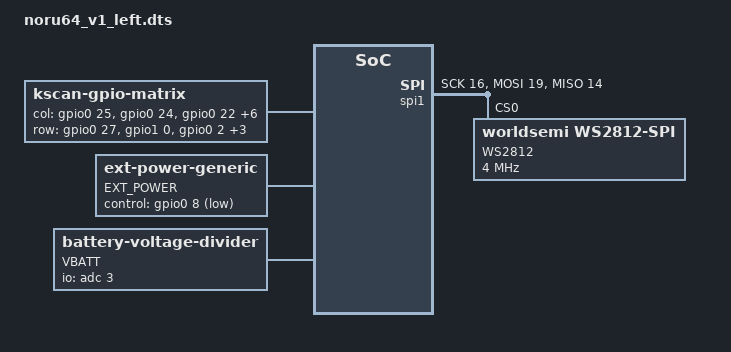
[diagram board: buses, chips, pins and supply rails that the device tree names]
/*
 * Copyright (c) 2020 Eric Lau
 *
 * SPDX-License-Identifier: MIT
 */

#include "noru64_v1.dts"

    / {
        chosen {
            zmk,underglow = &led_strip;
            zmk,battery = &vbatt;
        };
    
        kscan0: kscan_0 {
            compatible = "zmk,kscan-gpio-matrix";
            label = "KSCAN";
            diode-direction = "col2row";
    
            col-gpios
                = <&gpio0 25 GPIO_ACTIVE_HIGH>
                , <&gpio0 24 GPIO_ACTIVE_HIGH>
                , <&gpio0 22 GPIO_ACTIVE_HIGH>
                , <&gpio0 20 GPIO_ACTIVE_HIGH>
                , <&gpio0 23 GPIO_ACTIVE_HIGH>
                , <&gpio0 21 GPIO_ACTIVE_HIGH>
                , <&gpio0 17 GPIO_ACTIVE_HIGH>
                , <&gpio0 15 GPIO_ACTIVE_HIGH>
                , <&gpio0 13 GPIO_ACTIVE_HIGH>
                ;
    
            row-gpios
                = <&gpio0 27 (GPIO_ACTIVE_HIGH | GPIO_PULL_DOWN)>
                , <&gpio1 0  (GPIO_ACTIVE_HIGH | GPIO_PULL_DOWN)>
                , <&gpio0 2  (GPIO_ACTIVE_HIGH | GPIO_PULL_DOWN)>
                , <&gpio0 29 (GPIO_ACTIVE_HIGH | GPIO_PULL_DOWN)>
                , <&gpio0 28 (GPIO_ACTIVE_HIGH | GPIO_PULL_DOWN)>
                , <&gpio0 30 (GPIO_ACTIVE_HIGH | GPIO_PULL_DOWN)>
                ;
        };
    
        ext-power {
            compatible = "zmk,ext-power-generic";
            label = "EXT_POWER";
            control-gpios = <&gpio0 8 GPIO_ACTIVE_LOW>;   /*0.08*/
        };
    
        vbatt: vbatt {
            compatible = "zmk,battery-voltage-divider";
            label = "VBATT";
            io-channels = <&adc 3>;
            output-ohms = <10000000>;
		    full-ohms   = <(10000000 + 4000000)>;
        };
    };
    
    &spi1 {
        status = "okay";
    
        mosi-pin = <19>;
        
        // Unused pins, needed for SPI definition, but not used by the ws2812 driver itself.
        sck-pin = <16>;
        miso-pin = <14>;
    
        led_strip: ws2812@0 {
            compatible = "worldsemi,ws2812-spi";
            label = "WS2812";
    
            /* SPI */
            reg = <0>; /* ignored, but necessary for SPI bindings */
            spi-max-frequency = <4000000>;
    
            /* WS2812 */
            chain-length = <8>; /* LED strip length */
            spi-one-frame = <0x70>;
            spi-zero-frame = <0x40>;
            color-mapping = <LED_COLOR_ID_GREEN LED_COLOR_ID_RED LED_COLOR_ID_BLUE>;
        };
    };
